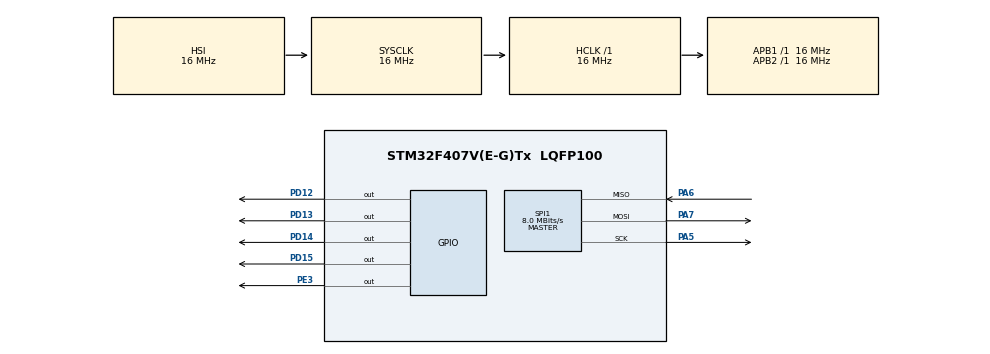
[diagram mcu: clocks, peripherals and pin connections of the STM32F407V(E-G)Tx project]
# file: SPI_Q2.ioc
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Mcu.Family=STM32F4
Mcu.Name=STM32F407V(E-G)Tx
Mcu.Package=LQFP100
NVIC.PriorityGroup=NVIC_PRIORITYGROUP_4
PA5.Mode=Full_Duplex_Master
PA5.Signal=SPI1_SCK
PA6.Mode=Full_Duplex_Master
PA6.Signal=SPI1_MISO
PA7.Mode=Full_Duplex_Master
PA7.Signal=SPI1_MOSI
PD12.Signal=GPIO_Output
PD13.Signal=GPIO_Output
PD14.Signal=GPIO_Output
PD15.Signal=GPIO_Output
PE3.GPIO_PuPd=GPIO_PULLUP
PE3.Signal=GPIO_Output
ProjectManager.HeapSize=0x200
ProjectManager.StackSize=0x400
ProjectManager.TargetToolchain=STM32CubeIDE
RCC.AHBFreq_Value=16000000
RCC.APB1Freq_Value=16000000
RCC.APB2Freq_Value=16000000
RCC.CortexFreq_Value=16000000
RCC.HSE_VALUE=25000000
RCC.HSI_VALUE=16000000
RCC.LSE_VALUE=32768
RCC.SYSCLKFreq_VALUE=16000000
RCC.VCOOutputFreq_Value=192000000
SPI1.CalculateBaudRate=8.0 MBits/s
SPI1.Direction=SPI_DIRECTION_2LINES
SPI1.Mode=SPI_MODE_MASTER
SPI1.VirtualType=VM_MASTER
board=custom

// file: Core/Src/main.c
/* USER CODE BEGIN Header */
/**
  ******************************************************************************
  * @file           : main.c
  * @brief          : Main program body
  ******************************************************************************
  * @attention
  *
  * Copyright (c) 2026 STMicroelectronics.
  * All rights reserved.
  *
  * This software is licensed under terms that can be found in the LICENSE file
  * in the root directory of this software component.
  * If no LICENSE file comes with this software, it is provided AS-IS.
  *
  ******************************************************************************
  */
/* USER CODE END Header */
#include "main.h"

SPI_HandleTypeDef hspi1;

/* USER CODE BEGIN PV */
uint8_t readflag = 0x80;
uint8_t R[6] ;
uint8_t tx_buf [2];
int16_t Rx = 0;
int16_t Ry = 0;
int16_t Rz = 0;
uint8_t whoami = 0;
uint8_t status = 0;
uint8_t Return [6];

/* USER CODE END PV */

void SystemClock_Config(void);
static void MX_GPIO_Init(void);
static void MX_SPI1_Init(void);

int main(void)
{

  /* MCU Configuration--------------------------------------------------------*/

  /* Reset of all peripherals, Initializes the Flash interface and the Systick. */
  HAL_Init();

  /* Configure the system clock */
  SystemClock_Config();

  /* Initialize all configured peripherals */
  MX_GPIO_Init();
  MX_SPI1_Init();
  /* USER CODE BEGIN 2 */
  HAL_GPIO_WritePin(GPIOE, GPIO_PIN_3, 0);
  tx_buf[0] = 0x0F | readflag;
  HAL_SPI_Transmit(&hspi1, tx_buf, 1, 100);
  HAL_SPI_Receive(&hspi1, &whoami, 1, 100);
  HAL_GPIO_WritePin(GPIOE, GPIO_PIN_3, 1);

 HAL_GPIO_WritePin(GPIOE, GPIO_PIN_3, 0);
 tx_buf[0] = 0x27 | readflag;
 HAL_SPI_Transmit(&hspi1, tx_buf, 1, 100);
 HAL_SPI_Receive(&hspi1, &status, 1, 100);
 HAL_GPIO_WritePin(GPIOE, GPIO_PIN_3, 1);

 HAL_GPIO_WritePin(GPIOE, GPIO_PIN_3, 0);
 tx_buf[0] = 0x20;
 tx_buf[1] = 0x47;
 HAL_SPI_Transmit(&hspi1, tx_buf, 2, 100);
 HAL_GPIO_WritePin(GPIOE, GPIO_PIN_3, 1);

 HAL_GPIO_WritePin(GPIOE, GPIO_PIN_3, 0);
 tx_buf[0] = 0x24;
 tx_buf[1] = 0xC8;
 HAL_SPI_Transmit(&hspi1, tx_buf, 2, 100);
 HAL_GPIO_WritePin(GPIOE, GPIO_PIN_3, 1);

 HAL_GPIO_WritePin(GPIOE, GPIO_PIN_3, 0);
 tx_buf[0] = 0x25;
 tx_buf[1] = 0x18;
 HAL_SPI_Transmit(&hspi1, tx_buf, 2, 100);
 HAL_GPIO_WritePin(GPIOE, GPIO_PIN_3, 1);
  /* USER CODE END 2 */

  /* Infinite loop */
  while (1)
  {

    /* USER CODE BEGIN 3 */
	 HAL_GPIO_WritePin(GPIOE, GPIO_PIN_3, 0);

	 tx_buf[0] = 0x28 | readflag;

	 HAL_SPI_Transmit(&hspi1, tx_buf, 1, 100);

	 HAL_SPI_Receive(&hspi1, Return, 6, 100);

	 HAL_GPIO_WritePin(GPIOE, GPIO_PIN_3, 1);

	 Rx = (int16_t) ((uint16_t)Return[1]<<8 | (Return[0]) );
	 Ry = (int16_t) ((uint16_t)Return[3]<<8 | (Return[2]) );
	 Rz = (int16_t) ((uint16_t)Return[5]<<8 | (Return[4]) );

	 HAL_GPIO_WritePin(GPIOD, GPIO_PIN_14, Rx > 2000 );
	 HAL_GPIO_WritePin(GPIOD, GPIO_PIN_12, Rx<-2000 );
	 HAL_GPIO_WritePin(GPIOD, GPIO_PIN_13, Ry > 2000);
	 HAL_GPIO_WritePin(GPIOD, GPIO_PIN_15, Ry<-2000);

	 HAL_Delay(100);

  }
  /* USER CODE END 3 */
}

void SystemClock_Config(void)
{
  RCC_OscInitTypeDef RCC_OscInitStruct = {0};
  RCC_ClkInitTypeDef RCC_ClkInitStruct = {0};

  /** Configure the main internal regulator output voltage
  */
  __HAL_RCC_PWR_CLK_ENABLE();
  __HAL_PWR_VOLTAGESCALING_CONFIG(PWR_REGULATOR_VOLTAGE_SCALE1);

  /** Initializes the RCC Oscillators according to the specified parameters
  * in the RCC_OscInitTypeDef structure.
  */
  RCC_OscInitStruct.OscillatorType = RCC_OSCILLATORTYPE_HSI;
  RCC_OscInitStruct.HSIState = RCC_HSI_ON;
  RCC_OscInitStruct.HSICalibrationValue = RCC_HSICALIBRATION_DEFAULT;
  RCC_OscInitStruct.PLL.PLLState = RCC_PLL_NONE;
  if (HAL_RCC_OscConfig(&RCC_OscInitStruct) != HAL_OK)
  {
    Error_Handler();
  }

  /** Initializes the CPU, AHB and APB buses clocks
  */
  RCC_ClkInitStruct.ClockType = RCC_CLOCKTYPE_HCLK|RCC_CLOCKTYPE_SYSCLK
                              |RCC_CLOCKTYPE_PCLK1|RCC_CLOCKTYPE_PCLK2;
  RCC_ClkInitStruct.SYSCLKSource = RCC_SYSCLKSOURCE_HSI;
  RCC_ClkInitStruct.AHBCLKDivider = RCC_SYSCLK_DIV1;
  RCC_ClkInitStruct.APB1CLKDivider = RCC_HCLK_DIV1;
  RCC_ClkInitStruct.APB2CLKDivider = RCC_HCLK_DIV1;

  if (HAL_RCC_ClockConfig(&RCC_ClkInitStruct, FLASH_LATENCY_0) != HAL_OK)
  {
    Error_Handler();
  }
}

static void MX_SPI1_Init(void)
{

  /* SPI1 parameter configuration*/
  hspi1.Instance = SPI1;
  hspi1.Init.Mode = SPI_MODE_MASTER;
  hspi1.Init.Direction = SPI_DIRECTION_2LINES;
  hspi1.Init.DataSize = SPI_DATASIZE_8BIT;
  hspi1.Init.CLKPolarity = SPI_POLARITY_LOW;
  hspi1.Init.CLKPhase = SPI_PHASE_1EDGE;
  hspi1.Init.NSS = SPI_NSS_SOFT;
  hspi1.Init.BaudRatePrescaler = SPI_BAUDRATEPRESCALER_2;
  hspi1.Init.FirstBit = SPI_FIRSTBIT_MSB;
  hspi1.Init.TIMode = SPI_TIMODE_DISABLE;
  hspi1.Init.CRCCalculation = SPI_CRCCALCULATION_DISABLE;
  hspi1.Init.CRCPolynomial = 10;
  if (HAL_SPI_Init(&hspi1) != HAL_OK)
  {
    Error_Handler();
  }

}

static void MX_GPIO_Init(void)
{
  GPIO_InitTypeDef GPIO_InitStruct = {0};

  /* GPIO Ports Clock Enable */
  __HAL_RCC_GPIOE_CLK_ENABLE();
  __HAL_RCC_GPIOA_CLK_ENABLE();
  __HAL_RCC_GPIOD_CLK_ENABLE();

  /*Configure GPIO pin Output Level */
  HAL_GPIO_WritePin(GPIOE, GPIO_PIN_3, GPIO_PIN_RESET);

  /*Configure GPIO pin Output Level */
  HAL_GPIO_WritePin(GPIOD, GPIO_PIN_12|GPIO_PIN_13|GPIO_PIN_14|GPIO_PIN_15, GPIO_PIN_RESET);

  /*Configure GPIO pin : PE3 */
  GPIO_InitStruct.Pin = GPIO_PIN_3;
  GPIO_InitStruct.Mode = GPIO_MODE_OUTPUT_PP;
  GPIO_InitStruct.Pull = GPIO_PULLUP;
  GPIO_InitStruct.Speed = GPIO_SPEED_FREQ_LOW;
  HAL_GPIO_Init(GPIOE, &GPIO_InitStruct);

  /*Configure GPIO pins : PD12 PD13 PD14 PD15 */
  GPIO_InitStruct.Pin = GPIO_PIN_12|GPIO_PIN_13|GPIO_PIN_14|GPIO_PIN_15;
  GPIO_InitStruct.Mode = GPIO_MODE_OUTPUT_PP;
  GPIO_InitStruct.Pull = GPIO_NOPULL;
  GPIO_InitStruct.Speed = GPIO_SPEED_FREQ_LOW;
  HAL_GPIO_Init(GPIOD, &GPIO_InitStruct);

}

void Error_Handler(void)
{
  __disable_irq();
  while (1)
  {
  }
}
